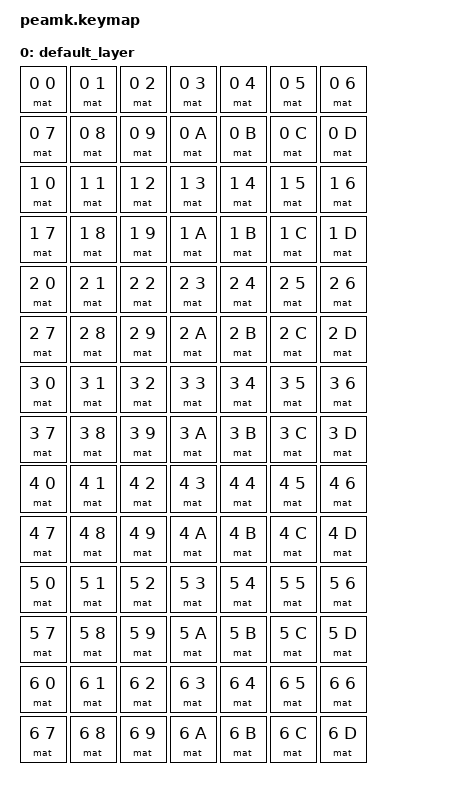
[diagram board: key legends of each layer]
/*
 * Copyright (c) 2020 The ZMK Contributors
 *
 * SPDX-License-Identifier: MIT
 */

#include <behaviors.dtsi>
#include <dt-bindings/zmk/keys.h>

/ {
        keymap {
                compatible = "zmk,keymap";

                default_layer {
                        bindings = <
                        &mat N0 N0 &mat N0 N1 &mat N0 N2 &mat N0 N3 &mat N0 N4 &mat N0 N5 &mat N0 N6
                        &mat N0 N7 &mat N0 N8 &mat N0 N9 &mat N0 A &mat N0 B &mat N0 C &mat N0 D
                        &mat N1 N0 &mat N1 N1 &mat N1 N2 &mat N1 N3 &mat N1 N4 &mat N1 N5 &mat N1 N6
                        &mat N1 N7 &mat N1 N8 &mat N1 N9 &mat N1 A &mat N1 B &mat N1 C &mat N1 D
                        &mat N2 N0 &mat N2 N1 &mat N2 N2 &mat N2 N3 &mat N2 N4 &mat N2 N5 &mat N2 N6
                        &mat N2 N7 &mat N2 N8 &mat N2 N9 &mat N2 A &mat N2 B &mat N2 C &mat N2 D
                        &mat N3 N0 &mat N3 N1 &mat N3 N2 &mat N3 N3 &mat N3 N4 &mat N3 N5 &mat N3 N6
                        &mat N3 N7 &mat N3 N8 &mat N3 N9 &mat N3 A &mat N3 B &mat N3 C &mat N3 D
                        &mat N4 N0 &mat N4 N1 &mat N4 N2 &mat N4 N3 &mat N4 N4 &mat N4 N5 &mat N4 N6
                        &mat N4 N7 &mat N4 N8 &mat N4 N9 &mat N4 A &mat N4 B &mat N4 C &mat N4 D
                        &mat N5 N0 &mat N5 N1 &mat N5 N2 &mat N5 N3 &mat N5 N4 &mat N5 N5 &mat N5 N6
                        &mat N5 N7 &mat N5 N8 &mat N5 N9 &mat N5 A &mat N5 B &mat N5 C &mat N5 D
                        &mat N6 N0 &mat N6 N1 &mat N6 N2 &mat N6 N3 &mat N6 N4 &mat N6 N5 &mat N6 N6
                        &mat N6 N7 &mat N6 N8 &mat N6 N9 &mat N6 A &mat N6 B &mat N6 C &mat N6 D
                        >;
                };
        };
};
